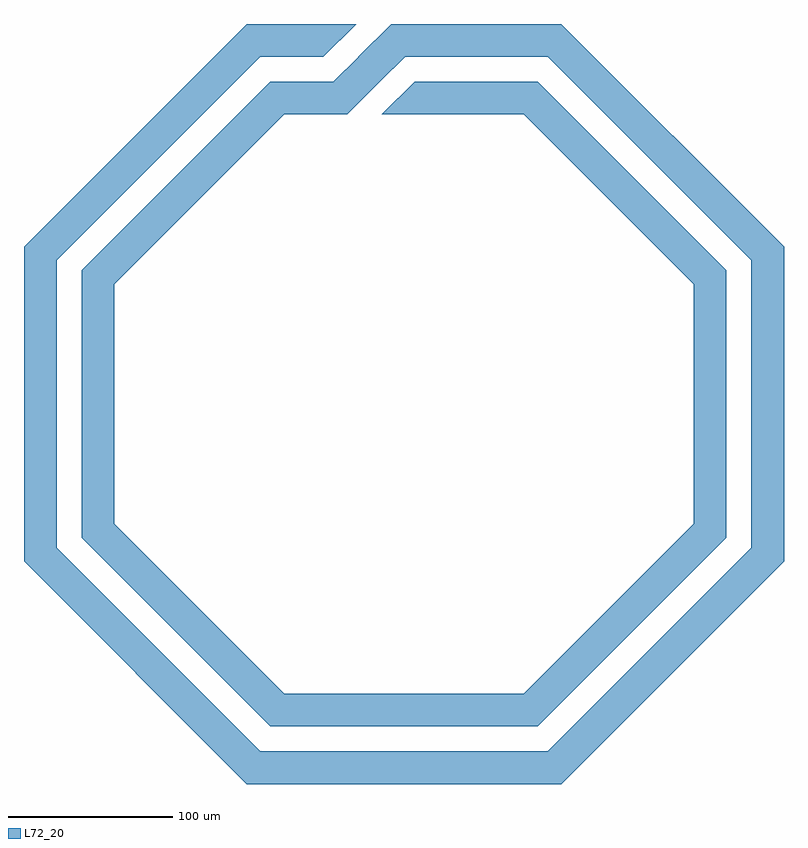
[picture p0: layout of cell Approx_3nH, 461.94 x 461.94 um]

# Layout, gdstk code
import gdstk
lib = gdstk.Library(unit=1e-6, precision=5e-09)
def P(c, l, *ps):  # polygons
    for p in ps: c.add(gdstk.Polygon(p, *l))
L72_20 = (72, 20)

approx_3nh = lib.new_cell('Approx_3nH')
P(approx_3nh, L72_20, [(-62.89,175.97),(-7.89,230.97),(20.395,230.97),(-34.605,175.97)],
  [(-87.385,210.97),(-95.67,230.97),(-29.1,230.97),(-49.1,210.97)],
  [(-27.89,210.97),(-7.89,230.97),(95.67,230.97),(87.385,210.97)],
  [(-210.97,87.385),(-230.97,95.67),(-95.67,230.97),(-87.385,210.97)],
  [(-230.97,-95.67),(-230.97,95.67),(-210.97,87.385),(-210.97,-87.385)],
  [(-95.67,-230.97),(-230.97,-95.67),(-210.97,-87.385),(-87.385,-210.97)],
  [(-95.67,-230.97),(-87.385,-210.97),(87.385,-210.97),(95.67,-230.97)],
  [(95.67,-230.97),(87.385,-210.97),(210.97,-87.385),(230.97,-95.67)],
  [(230.97,-95.67),(210.97,-87.385),(210.97,87.385),(230.97,95.67)],
  [(210.97,87.385),(87.385,210.97),(95.67,230.97),(230.97,95.67)],
  [(-72.89,175.97),(-81.175,195.97),(-14.605,195.97),(-34.605,175.97)],
  [(-13.39,175.97),(6.61,195.97),(81.175,195.97),(72.89,175.97)],
  [(-175.97,72.89),(-195.97,81.175),(-81.175,195.97),(-72.89,175.97)],
  [(-195.97,-81.175),(-195.97,81.175),(-175.97,72.89),(-175.97,-72.89)],
  [(-81.175,-195.97),(-195.97,-81.175),(-175.97,-72.89),(-72.89,-175.97)],
  [(-81.175,-195.97),(-72.89,-175.97),(72.89,-175.97),(81.175,-195.97)],
  [(81.175,-195.97),(72.89,-175.97),(175.97,-72.89),(195.97,-81.175)],
  [(195.97,-81.175),(175.97,-72.89),(175.97,72.89),(195.97,81.175)],
  [(175.97,72.89),(72.89,175.97),(81.175,195.97),(195.97,81.175)])

lib.write_gds('Approx_3nH.gds')
